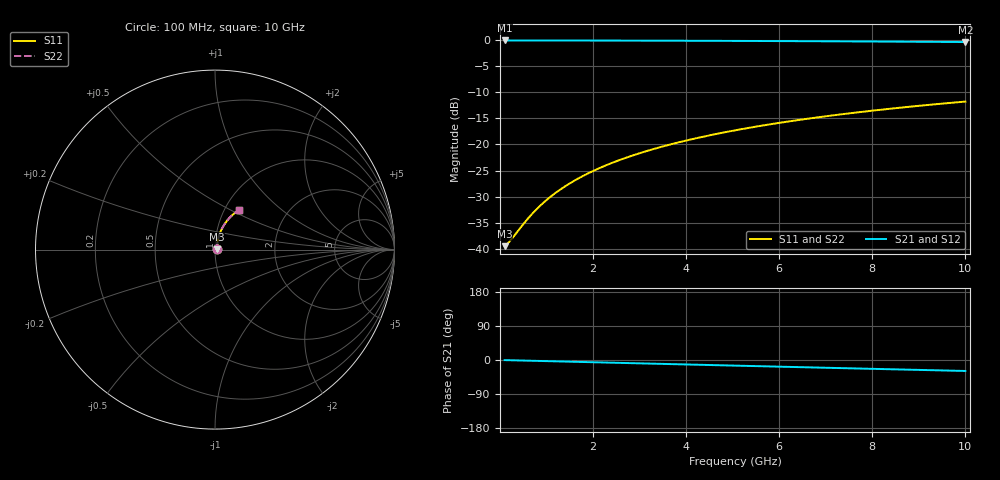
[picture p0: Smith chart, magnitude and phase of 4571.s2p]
# Hz S RI R 50.00
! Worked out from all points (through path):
!   100 points, 100 MHz to 10 GHz, reference 50 ohm
!   highest |S21| = -0.09 dB at 100 MHz (marker M1); lowest = -0.4 dB at 10 GHz (marker M2)
!   group delay of S21, straight-line fit = 8.05 ps
!   lowest |S11| = -39.5 dB at 100 MHz (marker M3), VSWR 1.02, Z = 51 + j0.274 ohm
!   |S11| at or under -10 dB: start of sweep to end of sweep
!   |S22| runs from -39.5 to -11.8 dB; largest |S21 - S12| = 0
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1e8  0.0103 0.00269  0.9897 -0.0051  0.9897 -0.0051  0.0103 0.00269
2e8  0.0104 0.00537  0.9896 -0.0102  0.9896 -0.0102  0.0104 0.00537
6e8  0.011 0.0161  0.9889 -0.0306  0.9889 -0.0306  0.011 0.0161
7e8  0.0112 0.0188  0.9887 -0.0357  0.9887 -0.0357  0.0112 0.0188
9e8  0.0117 0.0241  0.9881 -0.0458  0.9881 -0.0458  0.0117 0.0241
1.1e9  0.0123 0.0295  0.9874 -0.056  0.9874 -0.056  0.0123 0.0295
1.3e9  0.013 0.0348  0.9865 -0.0661  0.9865 -0.0661  0.013 0.0348
1.5e9  0.0138 0.0401  0.9855 -0.0763  0.9855 -0.0763  0.0138 0.0401
1.8e9  0.0152 0.048  0.9838 -0.0914  0.9838 -0.0914  0.0152 0.048
2.1e9  0.0168 0.0559  0.9818 -0.1065  0.9818 -0.1065  0.0168 0.0559
2.5e9  0.0194 0.0662  0.9787 -0.1266  0.9787 -0.1266  0.0194 0.0662
2.9e9  0.0224 0.0765  0.9751 -0.1465  0.9751 -0.1465  0.0224 0.0765
3.4e9  0.0267 0.0891  0.9699 -0.1712  0.9699 -0.1712  0.0267 0.0891
3.8e9  0.0306 0.099  0.9651 -0.1908  0.9651 -0.1908  0.0306 0.099
4.2e9  0.0348 0.1087  0.9599 -0.2102  0.9599 -0.2102  0.0348 0.1087
4.6e9  0.0395 0.1183  0.9542 -0.2294  0.9542 -0.2294  0.0395 0.1183
5.1e9  0.0459 0.1298  0.9464 -0.2531  0.9464 -0.2531  0.0459 0.1298
5.9e9  0.0572 0.1476  0.9324 -0.2902  0.9324 -0.2902  0.0572 0.1476
6.7e9  0.0698 0.1643  0.9167 -0.3263  0.9167 -0.3263  0.0698 0.1643
7.5e9  0.0837 0.1798  0.8994 -0.3613  0.8994 -0.3613  0.0837 0.1798
8.4e9  0.1006 0.1957  0.8782 -0.3991  0.8782 -0.3991  0.1006 0.1957
1e10  0.1335 0.2199  0.8363 -0.4623  0.8363 -0.4623  0.1335 0.2199
